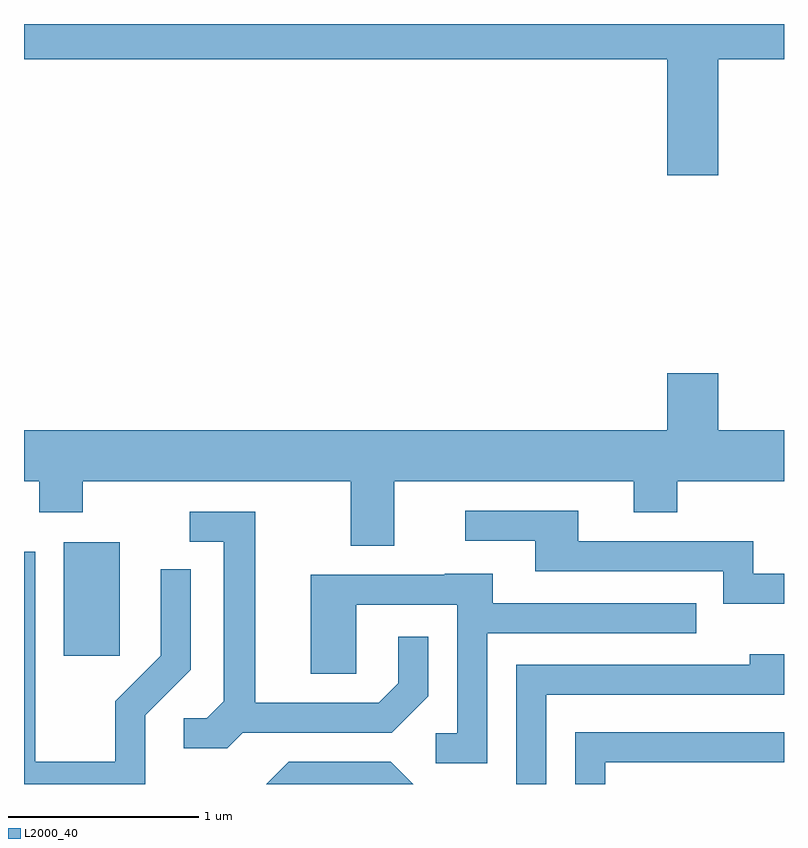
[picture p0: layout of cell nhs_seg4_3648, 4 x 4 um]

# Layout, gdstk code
import gdstk
lib = gdstk.Library(unit=1e-6, precision=1e-09)
def R(c, l, rs):  # rectangles x0, y0, x1, y1
    for r in rs: c.add(gdstk.rectangle(r[:2], r[2:], *l))
def P(c, l, *ps):  # polygons
    for p in ps: c.add(gdstk.Polygon(p, *l))
L2000_40 = (2000, 40)

nhs_seg4_3648 = lib.new_cell('nhs_seg4_3648')
R(nhs_seg4_3648, L2000_40, [(291.821,1342.656,292.114,1343.254)])
P(nhs_seg4_3648, L2000_40, [(295.264,1345.796),(295.611,1345.796),(295.611,1345.982),(291.611,1345.982),(291.611,1345.796),(294.996,1345.796),(294.996,1345.186),(295.264,1345.186)],
  [(293.559,1343.576),(294.821,1343.576),(294.821,1343.411),(295.049,1343.411),(295.049,1343.576),(295.611,1343.576),(295.611,1343.844),(295.264,1343.844),(295.264,1344.144),(294.996,1344.144),(294.996,1343.844),(291.611,1343.844),(291.611,1343.576),(291.691,1343.576),(291.691,1343.411),(291.919,1343.411),(291.919,1343.576),(293.331,1343.576),(293.331,1343.236),(293.559,1343.236)],
  [(295.611,1343.089),(295.449,1343.089),(295.449,1343.259),(294.529,1343.259),(294.529,1343.419),(293.933,1343.419),(293.933,1343.261),(294.301,1343.261),(294.301,1343.101),(295.291,1343.101),(295.291,1342.931),(295.611,1342.931)],
  [(292.762,1342.251),(293.547,1342.251),(293.739,1342.444),(293.739,1342.758),(293.581,1342.758),(293.581,1342.512),(293.479,1342.409),(292.829,1342.409),(292.829,1343.414),(292.483,1343.414),(292.483,1343.256),(292.661,1343.256),(292.661,1342.417),(292.574,1342.329),(292.453,1342.329),(292.453,1342.171),(292.682,1342.171)],
  [(292.249,1342.344),(292.489,1342.584),(292.489,1343.113),(292.331,1343.113),(292.331,1342.657),(292.091,1342.417),(292.091,1342.099),(291.669,1342.099),(291.669,1343.204),(291.611,1343.204),(291.611,1341.982),(292.249,1341.982)],
  [(294.049,1342.776),(295.148,1342.776),(295.148,1342.934),(294.079,1342.934),(294.079,1343.089),(293.825,1343.089),(293.825,1343.084),(293.121,1343.084),(293.121,1342.561),(293.359,1342.561),(293.359,1342.926),(293.891,1342.926),(293.891,1342.249),(293.778,1342.249),(293.778,1342.091),(294.049,1342.091)],
  [(294.359,1342.451),(295.611,1342.451),(295.611,1342.664),(295.431,1342.664),(295.431,1342.609),(294.201,1342.609),(294.201,1341.982),(294.359,1341.982)],
  [(294.669,1342.096),(295.611,1342.096),(295.611,1342.254),(294.511,1342.254),(294.511,1341.982),(294.669,1341.982)],
  [(293.542,1342.099),(293.004,1342.099),(292.887,1341.982),(293.659,1341.982)])

lib.write_gds('nhs_seg4_3648.gds')
